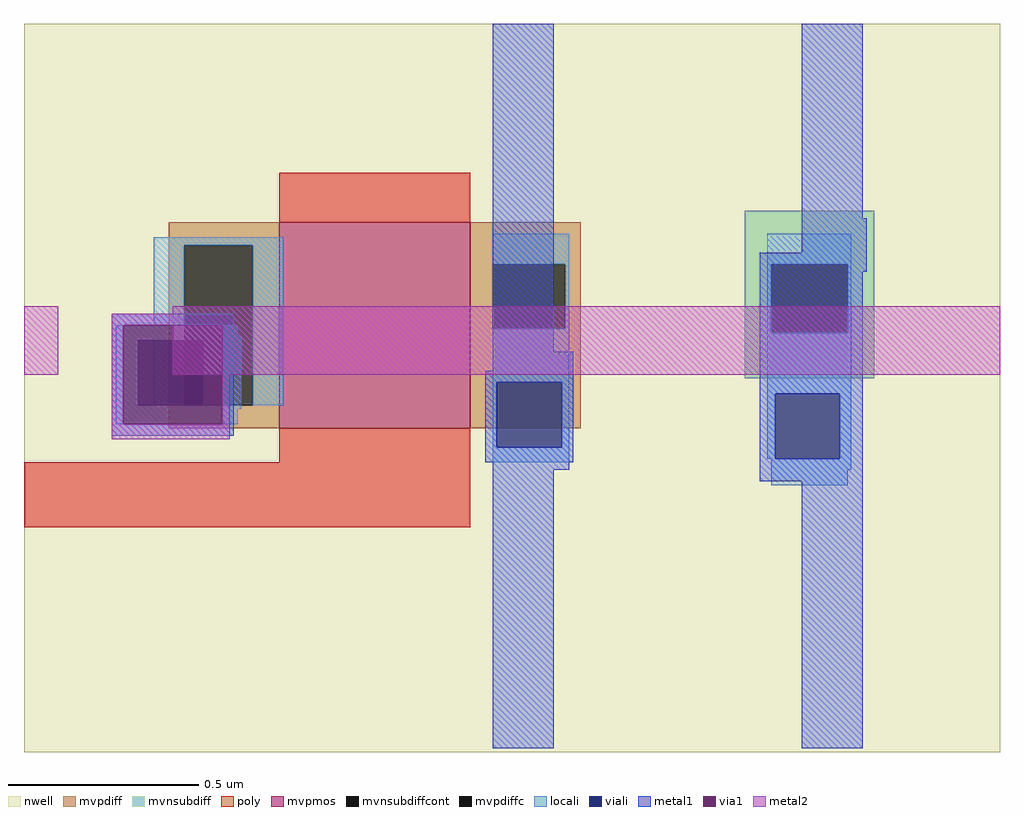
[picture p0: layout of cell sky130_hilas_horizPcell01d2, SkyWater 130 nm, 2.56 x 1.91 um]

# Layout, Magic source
magic
tech sky130A
<< nwell >>
rect 0 0 256 191
<< mvpmos >>
rect 67 85 117 139
<< mvpdiff >>
rect 38 133 67 139
rect 38 91 42 133
rect 60 91 67 133
rect 38 85 67 91
rect 117 128 146 139
rect 117 111 123 128
rect 142 111 146 128
rect 117 85 146 111
<< mvpdiffc >>
rect 42 91 60 133
rect 123 111 142 128
<< mvnsubdiff >>
rect 189 128 223 142
rect 189 110 196 128
rect 216 110 223 128
rect 189 98 223 110
<< mvnsubdiffcont >>
rect 196 110 216 128
<< poly >>
rect 67 139 117 152
rect 67 76 117 85
rect 0 59 117 76
<< locali >>
rect 34 133 68 135
rect 34 91 42 133
rect 60 91 68 133
rect 123 128 143 136
rect 142 111 143 128
rect 123 97 143 111
rect 123 80 124 97
rect 141 80 143 97
rect 123 76 143 80
rect 195 128 217 136
rect 195 110 196 128
rect 216 110 217 128
rect 195 94 217 110
rect 195 77 197 94
rect 214 77 217 94
rect 196 74 217 77
rect 196 70 216 74
<< viali >>
rect 124 80 141 97
rect 197 77 214 94
<< metal1 >>
rect 123 105 139 191
rect 204 140 220 191
rect 204 131 221 140
rect 193 126 221 131
rect 123 100 144 105
rect 121 97 144 100
rect 121 80 124 97
rect 141 80 144 97
rect 121 76 144 80
rect 193 94 220 126
rect 193 77 197 94
rect 214 77 220 94
rect 123 74 143 76
rect 123 1 139 74
rect 193 71 220 77
rect 204 1 220 71
<< metal2 >>
rect 0 99 9 117
rect 39 99 256 117
use sky130_hilas_li2m2  sky130_hilas_li2m2_1
transform 1 0 23 0 -1 115
box 0 0 34 33
<< properties >>
string LEFsite unithd
string LEFclass CORE
string LEFsymmetry X Y R90
<< end >>

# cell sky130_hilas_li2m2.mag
magic
tech sky130A
<< locali >>
rect 1 25 33 29
rect 1 24 34 25
rect 1 7 7 24
rect 24 7 34 24
rect 1 6 34 7
rect 1 3 33 6
<< viali >>
rect 7 7 24 24
<< metal1 >>
rect 0 29 32 32
rect 0 3 3 29
rect 29 3 32 29
rect 0 0 32 3
<< via1 >>
rect 3 24 29 29
rect 3 7 7 24
rect 7 7 24 24
rect 24 7 29 24
rect 3 3 29 7
<< metal2 >>
rect 0 29 31 33
rect 0 3 3 29
rect 29 3 31 29
rect 0 0 31 3
<< properties >>
string LEFsite unithd
string LEFclass CORE
string LEFsymmetry X Y R90
<< end >>
